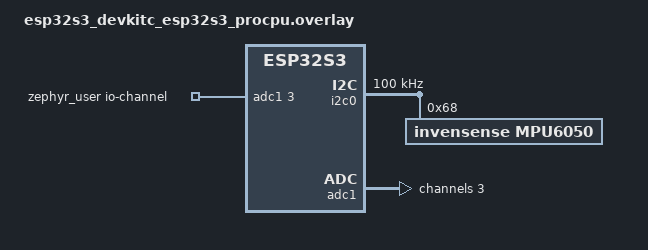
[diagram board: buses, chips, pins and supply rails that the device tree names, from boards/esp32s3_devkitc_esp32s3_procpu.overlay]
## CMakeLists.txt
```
cmake_minimum_required(VERSION 3.20.0)

find_package(Zephyr REQUIRED HINTS $ENV{ZEPHYR_BASE})
project(secure_sensor_node C)

target_include_directories(app PRIVATE
    ${CMAKE_CURRENT_SOURCE_DIR}/include
)

# Application sources
target_sources(app PRIVATE
    src/main.c
    src/sensor_manager.c
    src/ble_service.c
    src/mqtt_client.c
    src/power_manager.c

    subsys/sensors/mpu6050_sensor.c
    subsys/sensors/adc_battery.c

    subsys/encoding/json_encoder.c
)
```

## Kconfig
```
# Kconfig racine de l'application
source "$ZEPHYR_BASE/Kconfig.zephyr"
```

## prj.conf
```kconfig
# Serial & Console
CONFIG_SERIAL=y
CONFIG_CONSOLE=y
CONFIG_UART_CONSOLE=y
CONFIG_PRINTK=y

# Logging
CONFIG_LOG=y
CONFIG_LOG_DEFAULT_LEVEL=3
CONFIG_LOG_MODE_IMMEDIATE=y

# Support des floats
CONFIG_CBPRINTF_FP_SUPPORT=y
CONFIG_CBPRINTF_LIBC_SUBSTS=y

# Memory
CONFIG_HEAP_MEM_POOL_SIZE=32768
CONFIG_MAIN_STACK_SIZE=8192
CONFIG_SYSTEM_WORKQUEUE_STACK_SIZE=4096

# Threading
CONFIG_THREAD_NAME=y

# Power Management
#CONFIG_PM=y
#CONFIG_PM_DEVICE=y

# Watchdog 
CONFIG_WATCHDOG=y

# Random number generator (nécessaire pour sys_rand_get)
CONFIG_ENTROPY_GENERATOR=y
CONFIG_TEST_RANDOM_GENERATOR=y

# I2C
CONFIG_I2C=y

# SPI
CONFIG_SPI=y

# BLUETOOTH
CONFIG_BT=y
CONFIG_BT_PERIPHERAL=y
CONFIG_BT_DEVICE_NAME="SecureSensorNode"
CONFIG_BT_DEVICE_NAME_DYNAMIC=n
CONFIG_BT_PRIVACY=n
CONFIG_BT_SETTINGS=n
CONFIG_BT_GATT_DYNAMIC_DB=y
CONFIG_BT_ATT_PREPARE_COUNT=2
CONFIG_BT_L2CAP_TX_BUF_COUNT=8
CONFIG_BT_L2CAP_TX_MTU=247
CONFIG_BT_BUF_ACL_TX_SIZE=251
CONFIG_BT_BUF_ACL_RX_SIZE=251

CONFIG_BT_GATT_CLIENT=y

# JSON (nécessaire pour ble_service)
CONFIG_JSON_LIBRARY=y




# ===== NETWORKING (WiFi + MQTT) =====
CONFIG_NETWORKING=y
CONFIG_NET_IPV4=y
CONFIG_NET_IPV6=n
CONFIG_NET_TCP=y
CONFIG_NET_SOCKETS=y
CONFIG_NET_IF_UNICAST_IPV4_ADDR_COUNT=1
CONFIG_NET_IF_MCAST_IPV4_ADDR_COUNT=1
CONFIG_NET_MAX_CONTEXTS=10
CONFIG_NET_LOG=y

# DNS Resolver
CONFIG_DNS_RESOLVER=y
CONFIG_DNS_RESOLVER_ADDITIONAL_BUF_CTR=5
CONFIG_DNS_RESOLVER_ADDITIONAL_QUERIES=2


# Network buffers
CONFIG_NET_BUF_RX_COUNT=32
CONFIG_NET_BUF_TX_COUNT=32
CONFIG_NET_PKT_RX_COUNT=32
CONFIG_NET_PKT_TX_COUNT=32
CONFIG_NET_BUF_DATA_SIZE=256

# Network management
CONFIG_NET_MGMT=y
CONFIG_NET_MGMT_EVENT=y
CONFIG_NET_MGMT_EVENT_INFO=y
CONFIG_NET_MGMT_EVENT_STACK_SIZE=4096 

# ===== WiFi =====
CONFIG_WIFI=y
CONFIG_NET_L2_ETHERNET=y
CONFIG_NET_DHCPV4=y
CONFIG_WIFI_STA_AUTO_DHCPV4=y

# WiFi ESP32
CONFIG_WIFI_ESP32=y

# ===== MQTT =====
CONFIG_MQTT_LIB=y
CONFIG_MQTT_LIB_TLS=n

# MQTT buffers
CONFIG_MQTT_KEEPALIVE=60

# Sensor subsystem
CONFIG_SENSOR=y

# MPU-6050 over I2C and using Polling mode (no interrupts)
CONFIG_MPU6050=y
CONFIG_MPU6050_TRIGGER_NONE=y

# debugging
CONFIG_SHELL=y
CONFIG_I2C_SHELL=y
CONFIG_SHELL_BACKEND_SERIAL=y
```

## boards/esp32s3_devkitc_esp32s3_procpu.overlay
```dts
#include <zephyr/dt-bindings/pinctrl/esp32s3-pinctrl.h>

/ {
    aliases {
        batt-sense = &zephyr_user;
    };

    zephyr_user: zephyr_user {
        compatible = "zephyr,user";
        io-channels = <&adc1 3>;
    };
};

&pinctrl {
    i2c0_mpu6050: i2c0_mpu6050 {
        group1 {
            pinmux = <I2C0_SDA_GPIO8>,
                     <I2C0_SCL_GPIO7>;

            bias-pull-up;
            drive-open-drain;
            output-high;
        };
    };
};

&i2c0 {
    status = "okay";
    clock-frequency = <I2C_BITRATE_STANDARD>;

    pinctrl-0 = <&i2c0_mpu6050>;
    pinctrl-names = "default";

    mpu6050: mpu6050@68 {
        compatible = "invensense,mpu6050";
        reg = <0x68>;
        status = "okay";

        accel-fs = <2>; 
        gyro-fs = <250>;
    };
};

&adc1 {
    status = "okay";
    #address-cells = <1>;
    #size-cells = <0>;

    channel@3 {
        reg = <3>;
        zephyr,gain = "ADC_GAIN_1";
        zephyr,reference = "ADC_REF_INTERNAL";
        zephyr,acquisition-time = <ADC_ACQ_TIME_DEFAULT>;
        zephyr,resolution = <12>;
    };
};
```

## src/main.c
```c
#include <zephyr/kernel.h>
#include <zephyr/sys/printk.h>
#include <zephyr/logging/log.h>
#include "app_config.h"
#include "sensor_manager.h"
#include "power_manager.h"
#include "ble_service.h"
#include "mqtt_client.h"

LOG_MODULE_REGISTER(main, LOG_LEVEL_INF);

/*    INITIALIZATION FUNCTIONS        */

static int init_power_manager(void)
{
    int ret = power_manager_init();
    if (ret != 0) {
        LOG_ERR("Power manager init failed: %d", ret);
    }
    return ret;
}

static int init_mqtt_client(void)
{
    int ret = app_mqtt_client_init();
    if (ret != 0) {
        LOG_ERR("MQTT init failed: %d", ret);
        return ret;
    }
    
    LOG_INF("MQTT initialized - connecting...");
    
    ret = mqtt_client_connect();
    if (ret != 0) {
        LOG_ERR("MQTT connection failed: %d", ret);
        return ret;
    }
    
    LOG_INF(" MQTT connected to broker!");
    return 0;
}

static int init_ble_service(void)
{
    int ret = ble_service_init();
    if (ret != 0) {
        LOG_ERR("BLE service init failed: %d", ret);
        return ret;
    }
    LOG_INF("BLE service initialized!");
    
    ret = ble_service_start_advertising();
    if (ret != 0) {
        LOG_ERR("BLE advertising failed: %d", ret);
        return ret;
    }
    LOG_INF("BLE advertising started - device visible!");
    
    return 0;
}

static int init_sensor_manager(void)
{
    int ret = sensor_manager_init();
    if (ret != 0) {
        LOG_ERR("Sensor manager init failed: %d", ret);
        return ret;
    }
    
    ret = sensor_manager_start();
    if (ret != 0) {
        LOG_ERR("Sensor manager start failed: %d", ret);
        return ret;
    }
    
    return 0;
}

/*      DATA DISPLAY FUNCTIONS           */

static void display_sensor_data(const sensor_data_t *data, int counter)
{
    printk("\n=== Sensor Data [%d] ===\n", counter);
    printk(" Temperature: %.1f °C\n", (double)data->temperature_c);
    printk(" Accelerometer:\n");
    printk("    X: %+6.2f m/s²\n", (double)data->accel_x);
    printk("    Y: %+6.2f m/s²\n", (double)data->accel_y);
    printk("    Z: %+6.2f m/s²\n", (double)data->accel_z);
    printk(" Gyroscope:\n");
    printk("    X: %+6.2f rad/s\n", (double)data->gyro_x);
    printk("    Y: %+6.2f rad/s\n", (double)data->gyro_y);
    printk("    Z: %+6.2f rad/s\n", (double)data->gyro_z);
    printk(" Acceleration norm: %.3f m/s² (%s)\n",
           (double)data->accel_magnitude,
           data->motion_detected ? "MOTION" : "STILL");
    printk(" Norm stats: mean=%.3f std=%.3f min=%.3f max=%.3f\n",
           (double)data->accel_mean, (double)data->accel_stddev,
           (double)data->accel_min, (double)data->accel_max);
    printk(" Orientation (+X up): Y=%+.2f° Z=%+.2f°\n",
           (double)data->tilt_y_deg, (double)data->tilt_z_deg);
    printk(" Battery: %.2f V\n", (double)data->battery_voltage);
}

/*     BLE NOTIFICATION HANDLER           */

static void handle_ble_notification(const sensor_data_t *data, int counter)
{
    if (!ble_service_is_connected()) {
        printk(" BLE: Not connected\n");
        return;
    }
    
    if (counter == 0) {
        printk(" BLE: Waiting for MTU negotiation...\n");
        return;
    }
    
    int ret = ble_service_notify(data);
    if (ret == 0) {
        printk("✓ BLE notification sent!\n");
    } else if (ret == -EAGAIN) {
        printk(" BLE: MTU not ready yet\n");
    } else {
        printk(" BLE notification failed: %d\n", ret);
    }
}

/*   MQTT PUBLICATION HANDLER   */

static void handle_mqtt_publication(const sensor_data_t *data)
{
    if (!mqtt_client_is_connected()) {
        printk(" MQTT: Not connected\n");
        return;
    }
    
    int ret = mqtt_client_publish_sensor_data(data);
    if (ret == 0) {
        printk(" MQTT data published!\n");
    } else {
        printk(" MQTT publish failed: %d\n", ret);
    }
}

/*   MAIN LOOP FUNCTIONS       */

static void process_sensor_data(int counter)
{
    sensor_data_t data;
    int ret = sensor_manager_get_data(&data);
    
    if (ret != 0 || !data.valid) {
        printk(" No valid sensor data (ret=%d)\n", ret);
        return;
    }
    
    // Display sensor data
    display_sensor_data(&data, counter);
    
    // Send via BLE
    handle_ble_notification(&data, counter);
    
    // Publish via MQTT
    handle_mqtt_publication(&data);
    
    printk("\n");
}

static void process_maintenance_tasks(int counter)
{
    // Process MQTT events
    if (mqtt_client_is_connected()) {
        mqtt_client_process();
    }
    
    // Feed watchdog
    power_manager_feed_watchdog();
    
}

static void sleep_cycle(void)
{
    int ret = power_manager_enter_low_power(POWER_STATE_IDLE, 5000);
    if (ret != 0) {
        k_msleep(5000);
    }
}


int main(void)
{
    int ret;
    
    printk("\n\n=== SECURE SENSOR NODE - FULL VERSION ===\n");
    LOG_INF("Starting with BLE + MQTT...");
    
    // Initialize all subsystems
    init_power_manager();
    
    ret = init_mqtt_client();
    if (ret != 0) {
        LOG_WRN("Continuing without MQTT...");
    }
    
    ret = init_ble_service();
    if (ret != 0) {
        return ret;
    }
    
    ret = init_sensor_manager();
    if (ret != 0) {
        return ret;
    }
    
    // Main loop
    int counter = 0;
    
    while (1) {
        process_sensor_data(counter);
        process_maintenance_tasks(counter);
        counter++;
        sleep_cycle();
    }
    
    return 0;
}
```

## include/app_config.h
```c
/**
 * @file app_config.h
 * @brief Application-wide configuration constants
 */

#ifndef APP_CONFIG_H
#define APP_CONFIG_H

#include <zephyr/kernel.h>

/* Application version */
#define APP_VERSION_MAJOR 1
#define APP_VERSION_MINOR 0
#define APP_VERSION_PATCH 0

/* Sensor sampling configuration */
#define SENSOR_SAMPLE_INTERVAL_MS    20      /* 50 Hz acquisition */
#define SENSOR_QUEUE_SIZE            10

/* MPU-6050 processing */
#define SENSOR_FILTER_ALPHA          0.20f
#define SENSOR_FUSION_ALPHA          0.98f
#define SENSOR_MOTION_THRESHOLD_MS2  0.35f
#define SENSOR_STATS_WINDOW_SAMPLES  50      /* One second at 50 Hz */

/* BLE configuration */
#define BLE_DEVICE_NAME              "SecureSensorNode"
#define BLE_NOTIFY_INTERVAL_MS       10000   /* 10 seconds */

/* MQTT configuration */
#define MQTT_BROKER_ADDR             "192.168.1.114"
#define MQTT_BROKER_PORT             1883    /* TLS port */
#define MQTT_CLIENT_ID               "esp32s3_sensor_node"
#define MQTT_PUB_TOPIC               "sensors/data"
#define MQTT_PUB_INTERVAL_MS         15000   /* 15 seconds */
#define MQTT_KEEPALIVE_SEC           60
#define MQTT_QOS                     1

/* WiFi configuration */
#define WIFI_SSID                    "Fibre_MarocTelecom_2.4G"
#define WIFI_PSK                     "CYSFZR2K"

/* Power management */
#define ENABLE_LOW_POWER_MODE        1
#define SLEEP_DURATION_MS            30000   /* 30 seconds between cycles */

/* Watchdog configuration */
#define WATCHDOG_TIMEOUT_MS          10000   /* 10 seconds */

/* Buffer sizes */
#define JSON_BUFFER_SIZE             512
#define CBOR_BUFFER_SIZE             256

/* Stack sizes */
#define SENSOR_THREAD_STACK_SIZE     2048
#define BLE_THREAD_STACK_SIZE        2048
#define MQTT_THREAD_STACK_SIZE       4096

/* Thread priorities */
#define SENSOR_THREAD_PRIORITY       5
#define BLE_THREAD_PRIORITY          6
#define MQTT_THREAD_PRIORITY         6

#endif /* APP_CONFIG_H */
/* BLE Service UUIDs */
#define BLE_UUID_SENSOR_SERVICE \
    BT_UUID_DECLARE_128(BT_UUID_128_ENCODE(0xF0DEBC9A, 0x7856, 0x3412, 0x7856, 0x341234125678))

#define BLE_UUID_SENSOR_DATA_CHAR \
    BT_UUID_DECLARE_128(BT_UUID_128_ENCODE(0xF0DEBC9B, 0x7856, 0x3412, 0x7856, 0x341234125678))
```

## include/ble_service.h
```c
#ifndef BLE_SERVICE_H
#define BLE_SERVICE_H

#include <stdbool.h>
#include "sensor_manager.h"

int ble_service_init(void);
int ble_service_start_advertising(void);
int ble_service_stop_advertising(void);
int ble_service_notify(const sensor_data_t *data);
bool ble_service_is_connected(void);

#endif
```

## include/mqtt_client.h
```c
#ifndef MQTT_CLIENT_H
#define MQTT_CLIENT_H

#include "sensor_manager.h"

int app_mqtt_client_init(void);
int mqtt_client_connect(void);
void app_mqtt_disconnect(void);
int mqtt_client_publish_sensor_data(const sensor_data_t *data);
bool mqtt_client_is_connected(void);
void mqtt_client_process(void);

#endif
```

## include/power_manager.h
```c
/**
 * @file power_manager.h
 * @brief Power management for low-power operation
 */

#ifndef POWER_MANAGER_H
#define POWER_MANAGER_H

#include <zephyr/kernel.h>

/* Power states */
typedef enum {
    POWER_STATE_ACTIVE,
    POWER_STATE_IDLE,
    POWER_STATE_SLEEP,
    POWER_STATE_DEEP_SLEEP
} power_state_t;

/**
 * @brief Initialize power management subsystem
 * @return 0 on success, negative errno on failure
 */
int power_manager_init(void);

/**
 * @brief Enter low-power mode
 * @param state Desired power state
 * @param duration_ms Duration to stay in low-power mode (0 for indefinite)
 * @return 0 on success, negative errno on failure
 */
int power_manager_enter_low_power(power_state_t state, uint32_t duration_ms);

/**
 * @brief Exit low-power mode and return to active state
 */
void power_manager_exit_low_power(void);

/**
 * @brief Get current power state
 * @return Current power state
 */
power_state_t power_manager_get_state(void);

/**
 * @brief Setup watchdog timer
 * @param timeout_ms Watchdog timeout in milliseconds
 * @return 0 on success, negative errno on failure
 */
int power_manager_setup_watchdog(uint32_t timeout_ms);

/**
 * @brief Feed the watchdog timer
 */
void power_manager_feed_watchdog(void);

#endif /* POWER_MANAGER_H */
```

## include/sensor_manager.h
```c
/**
 * @file sensor_manager.h
 * @brief Sensor data collection and management
 */

#ifndef SENSOR_MANAGER_H
#define SENSOR_MANAGER_H

#include <zephyr/kernel.h>
#include <stdint.h>

/* Sensor data structure */
typedef struct {
    float temperature_c;      /* MPU-6050 internal die temperature (Celsius) */
    float accel_x;            /* Accelerometer X-axis (m/s²) */
    float accel_y;            /* Accelerometer Y-axis (m/s²) */
    float accel_z;            /* Accelerometer Z-axis (m/s²) */
    float gyro_x;             /* Gyroscope X-axis (rad/s) */
    float gyro_y;             /* Gyroscope Y-axis (rad/s) */
    float gyro_z;             /* Gyroscope Z-axis (rad/s) */
    float accel_magnitude;    /* Acceleration norm (m/s²) */
    float accel_mean;         /* Mean norm over the statistics window */
    float accel_stddev;       /* Norm standard deviation */
    float accel_min;          /* Minimum norm */
    float accel_max;          /* Maximum norm */
    float tilt_y_deg;         /* Fused tilt around Y, +X-up reference */
    float tilt_z_deg;         /* Fused tilt around Z, +X-up reference */
    bool motion_detected;     /* Acceleration differs significantly from 1 g */
    float battery_voltage;    /* Battery voltage (V) */
    uint32_t timestamp_ms;    /* Timestamp in milliseconds */
    bool valid;               /* Data validity flag */
} sensor_data_t;

/**
 * @brief Initialize sensor manager and all sensors
 * @return 0 on success, negative errno on failure
 */
int sensor_manager_init(void);

/**
 * @brief Start sensor sampling thread
 * @return 0 on success, negative errno on failure
 */
int sensor_manager_start(void);

/**
 * @brief Stop sensor sampling thread
 */
void sensor_manager_stop(void);

/**
 * @brief Get latest sensor readings
 * @param data Pointer to sensor_data_t structure to fill
 * @return 0 on success, negative errno on failure
 */
int sensor_manager_get_data(sensor_data_t *data);

/**
 * @brief Register callback for new sensor data
 * @param callback Function to call when new data is available
 */
typedef void (*sensor_data_callback_t)(const sensor_data_t *data);
void sensor_manager_register_callback(sensor_data_callback_t callback);

#endif /* SENSOR_MANAGER_H */
```

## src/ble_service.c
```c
/**
 * @file ble_service.c
 * @brief BLE GATT service for sensor data notifications
 */

#include <zephyr/kernel.h>
#include <zephyr/bluetooth/bluetooth.h>
#include <zephyr/bluetooth/gap.h>
#include <zephyr/bluetooth/gatt.h>
#include <zephyr/bluetooth/uuid.h>
#include <zephyr/logging/log.h>
#include "ble_service.h"
#include "sensor_manager.h"

LOG_MODULE_REGISTER(ble_svc, LOG_LEVEL_INF);

/* Connexion et état */
static struct bt_conn *current_conn = NULL;
static bool notify_enabled = false;

/* Buffer pour les données JSON */
#define JSON_BUFFER_SIZE 256
static char json_buffer[JSON_BUFFER_SIZE];

/* UUID Service : 12345678-1234-5678-1234-56789abcdef0 */
#define BT_UUID_SENSOR_SERVICE \
    BT_UUID_DECLARE_128(BT_UUID_128_ENCODE(0x12345678, 0x1234, 0x5678, 0x1234, 0x56789abcdef0))

/* UUID Characteristic : 12345678-1234-5678-1234-56789abcdef1 */
#define BT_UUID_SENSOR_DATA_CHAR \
    BT_UUID_DECLARE_128(BT_UUID_128_ENCODE(0x12345678, 0x1234, 0x5678, 0x1234, 0x56789abcdef1))

static int encode_sensor_data(const sensor_data_t *data)
{
    int len = snprintf(json_buffer, sizeof(json_buffer),
        "{\"t\":%.1f,\"x\":%.2f,\"y\":%.2f,\"z\":%.2f,"
        "\"gx\":%.2f,\"gy\":%.2f,\"gz\":%.2f,\"ay\":%.1f,"
        "\"az\":%.1f,\"m\":%d,\"b\":%.2f}",
        (double)data->temperature_c,
        (double)data->accel_x,
        (double)data->accel_y,
        (double)data->accel_z,
        (double)data->gyro_x,
        (double)data->gyro_y,
        (double)data->gyro_z,
        (double)data->tilt_y_deg,
        (double)data->tilt_z_deg,
        data->motion_detected ? 1 : 0,
        (double)data->battery_voltage);

    if (len < 0 || len >= sizeof(json_buffer)) {
        LOG_ERR("BLE JSON encode failed");
        return -ENOMEM;
    }

    return len;
}

static ssize_t read_sensor_data(struct bt_conn *conn,
                                const struct bt_gatt_attr *attr,
                                void *buf, uint16_t len, uint16_t offset)
{
    sensor_data_t data;
    int ret = sensor_manager_get_data(&data);

    if (ret != 0) {
        return BT_GATT_ERR(BT_ATT_ERR_UNLIKELY);
    }

    ret = encode_sensor_data(&data);
    if (ret < 0) {
        return BT_GATT_ERR(BT_ATT_ERR_UNLIKELY);
    }

    return bt_gatt_attr_read(conn, attr, buf, len, offset,
                             json_buffer, ret);
}

/**
 * @brief CCC change handler
 */
static void sensor_data_ccc_changed(const struct bt_gatt_attr *attr, uint16_t value)
{
    notify_enabled = (value == BT_GATT_CCC_NOTIFY);
    LOG_INF("Notifications %s", notify_enabled ? "enabled" : "disabled");
}

/**
 * @brief GATT service
 */
BT_GATT_SERVICE_DEFINE(sensor_service,
    BT_GATT_PRIMARY_SERVICE(BT_UUID_SENSOR_SERVICE),
    BT_GATT_CHARACTERISTIC(BT_UUID_SENSOR_DATA_CHAR,
                          BT_GATT_CHRC_READ | BT_GATT_CHRC_NOTIFY,
                          BT_GATT_PERM_READ,
                          read_sensor_data, NULL, json_buffer),
    BT_GATT_CCC(sensor_data_ccc_changed, BT_GATT_PERM_READ | BT_GATT_PERM_WRITE),
);

/**
 * @brief Advertising data
 */
static const struct bt_data ad[] = {
    BT_DATA_BYTES(BT_DATA_FLAGS, (BT_LE_AD_GENERAL | BT_LE_AD_NO_BREDR)),
    BT_DATA_BYTES(BT_DATA_NAME_COMPLETE,
        'S', 'e', 'n', 's', 'o', 'r', 'N', 'o', 'd', 'e'),
};

/**
 * @brief Connection callback
 */
static void connected(struct bt_conn *conn, uint8_t err)
{
    char addr[BT_ADDR_LE_STR_LEN];
    bt_addr_le_to_str(bt_conn_get_dst(conn), addr, sizeof(addr));

    if (err) {
        LOG_ERR("Connection failed: %u", err);
        return;
    }

    LOG_INF("✓ Connected: %s", addr);
    current_conn = bt_conn_ref(conn);
}

/**
 * @brief Disconnect callback
 */
static void disconnected(struct bt_conn *conn, uint8_t reason)
{
    char addr[BT_ADDR_LE_STR_LEN];
    bt_addr_le_to_str(bt_conn_get_dst(conn), addr, sizeof(addr));

    LOG_INF("✗ Disconnected: %s (reason %u)", addr, reason);

    if (current_conn) {
        bt_conn_unref(current_conn);
        current_conn = NULL;
    }

    notify_enabled = false;
    
    /* Redémarrer advertising après déconnexion */
    LOG_INF("Restarting advertising...");
    ble_service_start_advertising();
}

BT_CONN_CB_DEFINE(conn_callbacks) = {
    .connected = connected,
    .disconnected = disconnected,
};

int ble_service_init(void)
{
    int err = bt_enable(NULL);
    if (err) {
        LOG_ERR("Bluetooth init failed (err %d)", err);
        return err;
    }

    /* Afficher l'adresse MAC */
    bt_addr_le_t addr;
    size_t count = 1;
    bt_id_get(&addr, &count);
    
    char addr_str[BT_ADDR_LE_STR_LEN];
    bt_addr_le_to_str(&addr, addr_str, sizeof(addr_str));
    
    LOG_INF("===========================================");
    LOG_INF("*** MAC Address: %s ***", addr_str);
    LOG_INF("===========================================");
    LOG_INF("Bluetooth initialized");
    
    return 0;
}

int ble_service_start_advertising(void)
{
    struct bt_le_adv_param adv_param = {
        .id = BT_ID_DEFAULT,
        .options = BT_LE_ADV_OPT_CONN,  // Utiliser BT_LE_ADV_OPT_CONN au lieu de CONNECTABLE
        .interval_min = BT_GAP_ADV_FAST_INT_MIN_2,
        .interval_max = BT_GAP_ADV_FAST_INT_MAX_2,
        .peer = NULL,
    };

    int err = bt_le_adv_start(&adv_param, ad, ARRAY_SIZE(ad), NULL, 0);
    if (err) {
        LOG_ERR("Failed to start advertising (err %d)", err);
        return err;
    }

    LOG_INF("✓ Advertising started - Name: SensorNode");
    return 0;
}

int ble_service_stop_advertising(void)
{
    int err = bt_le_adv_stop();
    if (err) {
        LOG_ERR("Failed to stop advertising (err %d)", err);
        return err;
    }

    LOG_INF("Advertising stopped");
    return 0;
}

int ble_service_notify(const sensor_data_t *data)
{
    if (!current_conn || !notify_enabled) {
        return -ENOTCONN;
    }

    int len = encode_sensor_data(data);
    if (len < 0) {
        return len;
    }
    
    LOG_DBG("Sending: %d bytes", len);
    
    /* attrs[2] is the characteristic value; attrs[1] is its declaration. */
    return bt_gatt_notify(current_conn, &sensor_service.attrs[2],
                         json_buffer, len);
}

bool ble_service_is_connected(void)
{
    return (current_conn != NULL && notify_enabled);
}
```

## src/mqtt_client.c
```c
/**
 * @file mqtt_client.c - FINAL FIX
 * @brief MQTT client using NET_EVENT_IPV4_ADDR_ADD (like working test_wifi)
 */

#include <zephyr/kernel.h>
#include <zephyr/net/socket.h>
#include <zephyr/net/mqtt.h>
#include <zephyr/net/net_mgmt.h>
#include <zephyr/net/net_ip.h>
#include <zephyr/net/net_if.h>
#include <zephyr/net/wifi_mgmt.h>
#include <zephyr/logging/log.h>
#include <zephyr/random/random.h>

#include "mqtt_client.h"
#include "app_config.h"

LOG_MODULE_REGISTER(app_mqtt, LOG_LEVEL_INF);

/* JSON encoder */
extern int json_encode_sensor_data_with_metadata(const sensor_data_t *data,
                                                 char *buffer,
                                                 size_t buffer_size,
                                                 const char *device_id);

/* MQTT client context */
static struct mqtt_client client;
static uint8_t rx_buffer[256];
static uint8_t tx_buffer[512];

static struct mqtt_utf8 client_id_utf8;
static struct mqtt_utf8 pub_topic_utf8;

static struct sockaddr_storage broker;
static bool mqtt_connected = false;

/* WiFi - TWO SEPARATE CALLBACKS like working test_wifi */
static struct net_mgmt_event_callback wifi_cb;
static struct net_mgmt_event_callback ipv4_cb;  // SEPARATE callback for IPv4

static K_SEM_DEFINE(wifi_connected_sem, 0, 1);
static K_SEM_DEFINE(ipv4_assigned, 0, 1);

/* Forward declarations */
static int wifi_connect(void);

/**
 * @brief Handle IPv4 address assignment - COPIED FROM WORKING test_wifi
 */
static void handle_ipv4_result(struct net_if *iface)
{
    char ip_addr[NET_IPV4_ADDR_LEN];

    for (int i = 0; i < NET_IF_MAX_IPV4_ADDR; i++) {
        struct net_if_addr *if_addr = &iface->config.ip.ipv4->unicast[i].ipv4;

        if (if_addr->addr_type != NET_ADDR_DHCP || !if_addr->is_used) {
            continue;
        }
        
        if (net_addr_ntop(AF_INET, &if_addr->address.in_addr, ip_addr, sizeof(ip_addr))) {
            LOG_INF("========================================");
            LOG_INF("ESP32-S3 IP Address: %s", ip_addr);
            LOG_INF("========================================");
            k_sem_give(&ipv4_assigned);  // Signal IP is ready!
            return;
        }
    }
}

/**
 * @brief WiFi event handler
 */
static void wifi_mgmt_event_handler(struct net_mgmt_event_callback *cb,
                                   uint64_t mgmt_event,
                                   struct net_if *iface)
{
    switch (mgmt_event) {
    case NET_EVENT_WIFI_CONNECT_RESULT:
        {
            const struct wifi_status *status = (const struct wifi_status *)cb->info;
            if (status->status) {
                LOG_ERR("WiFi connection failed (status: %d)", status->status);
            } else {
                LOG_INF("WiFi connected successfully");
                k_sem_give(&wifi_connected_sem);
            }
        }
        break;

    case NET_EVENT_WIFI_DISCONNECT_RESULT:
        LOG_WRN("WiFi disconnected");
        mqtt_connected = false;
        k_sem_reset(&wifi_connected_sem);
        k_sem_reset(&ipv4_assigned);
        break;

    default:
        break;
    }
}

/**
 * @brief IPv4 event handler - SEPARATE CALLBACK like working test_wifi
 */
static void ipv4_mgmt_event_handler(struct net_mgmt_event_callback *cb,
                                   uint64_t mgmt_event,
                                   struct net_if *iface)
{
    if (mgmt_event == NET_EVENT_IPV4_ADDR_ADD) {  // This event WORKS!
        handle_ipv4_result(iface);
    }
}

/**
 * @brief Connect to WiFi
 */
static int wifi_connect(void)
{
    struct net_if *iface = net_if_get_default();
    struct wifi_connect_req_params params = {0};

    if (!iface) {
        LOG_ERR("No default network interface found");
        return -1;
    }

    params.ssid = WIFI_SSID;
    params.ssid_length = strlen(WIFI_SSID);
    params.psk = WIFI_PSK;
    params.psk_length = strlen(WIFI_PSK);
    params.channel = WIFI_CHANNEL_ANY;
    params.security = WIFI_SECURITY_TYPE_PSK;

    LOG_INF("Connecting to WiFi SSID: %s", WIFI_SSID);

    if (net_mgmt(NET_REQUEST_WIFI_CONNECT, iface, &params, sizeof(params))) {
        LOG_ERR("WiFi connection request failed");
        return -1;
    }

    // Wait for WiFi connection (optional, can skip to IP wait)
    // k_sem_take(&wifi_connected_sem, K_SECONDS(30));

    // Wait for IP address assignment
    LOG_INF("Waiting for IP address...");
    int ret = k_sem_take(&ipv4_assigned, K_SECONDS(30));
    if (ret != 0) {
        LOG_ERR("DHCP timeout - no IP address assigned");
        return -ETIMEDOUT;
    }

    LOG_INF("✓ WiFi connected with IP assigned!");
    return 0;
}

/* MQTT event handler */
static void mqtt_evt_handler(struct mqtt_client *mqtt,
                             const struct mqtt_evt *evt)
{
    switch (evt->type) {
    case MQTT_EVT_CONNACK:
        if (evt->result) {
            LOG_ERR("MQTT connect failed: %d", evt->result);
            mqtt_connected = false;
        } else {
            mqtt_connected = true;
            LOG_INF("✓ MQTT connected");
        }
        break;

    case MQTT_EVT_DISCONNECT:
        LOG_INF("MQTT disconnected");
        mqtt_connected = false;
        break;

    default:
        break;
    }
}

/* Resolve broker hostname */
static int broker_init(void)
{
    struct sockaddr_in *b = (struct sockaddr_in *)&broker;

    b->sin_family = AF_INET;
    b->sin_port = htons(MQTT_BROKER_PORT);

    struct zsock_addrinfo hints = {
        .ai_family = AF_INET,
        .ai_socktype = SOCK_STREAM,
    };
    struct zsock_addrinfo *result;

    int ret = zsock_getaddrinfo(MQTT_BROKER_ADDR, NULL, &hints, &result);
    if (ret != 0) {
        LOG_ERR("DNS lookup failed: %d", ret);
        return -EINVAL;
    }

    struct sockaddr_in *addr = (struct sockaddr_in *)result->ai_addr;
    b->sin_addr = addr->sin_addr;

    zsock_freeaddrinfo(result);
    return 0;
}

/* Reconnection thread */
static K_THREAD_STACK_DEFINE(reconnect_stack, 2048);
static struct k_thread reconnect_thread;

static void reconnect_thread_func(void *a, void *b, void *c)
{
    ARG_UNUSED(a);
    ARG_UNUSED(b);
    ARG_UNUSED(c);
    
    while (1) {
        k_sleep(K_SECONDS(30));
        
        if (!mqtt_connected) {
            LOG_WRN("MQTT disconnected, attempting reconnection...");
            
            int ret = wifi_connect();
            if (ret == 0) {
                ret = mqtt_client_connect();
                if (ret == 0) {
                    LOG_INF("✓ Reconnected to MQTT broker");
                }
            }
        }
    }
}

/**
 * @brief Initialize MQTT client
 */
int app_mqtt_client_init(void)
{
    LOG_INF("Initializing MQTT client...");

    /* Register WiFi events callback */
    net_mgmt_init_event_callback(&wifi_cb, wifi_mgmt_event_handler,
                                NET_EVENT_WIFI_CONNECT_RESULT |
                                NET_EVENT_WIFI_DISCONNECT_RESULT);
    
    /* Register IPv4 events callback - SEPARATE! */
    net_mgmt_init_event_callback(&ipv4_cb, ipv4_mgmt_event_handler,
                                NET_EVENT_IPV4_ADDR_ADD);  // ✅ This works!

    net_mgmt_add_event_callback(&wifi_cb);
    net_mgmt_add_event_callback(&ipv4_cb);

    /* Give system time to initialize */
    k_sleep(K_SECONDS(1));

    /* Connect to WiFi */
    int ret = wifi_connect();
    if (ret < 0) {
        return ret;
    }

    /* Setup broker address */
    ret = broker_init();
    if (ret < 0) return ret;

    /* Prepare client */
    mqtt_client_init(&client);

    client.broker = &broker;
    client.evt_cb = mqtt_evt_handler;
    client.protocol_version = MQTT_VERSION_3_1_1;

    client.tx_buf = tx_buffer;
    client.tx_buf_size = sizeof(tx_buffer);
    client.rx_buf = rx_buffer;
    client.rx_buf_size = sizeof(rx_buffer);

    /* Client ID */
    static char cid[32];
    snprintf(cid, sizeof(cid), "%s_%08x", MQTT_CLIENT_ID, sys_rand32_get());
    client_id_utf8.utf8 = (uint8_t *)cid;
    client_id_utf8.size = strlen(cid);
    client.client_id = client_id_utf8;

    /* Publish topic */
    pub_topic_utf8.utf8 = (uint8_t *)MQTT_PUB_TOPIC;
    pub_topic_utf8.size = strlen(MQTT_PUB_TOPIC);

    /* Start reconnection thread */
    k_thread_create(&reconnect_thread, reconnect_stack,
                    K_THREAD_STACK_SIZEOF(reconnect_stack),
                    reconnect_thread_func,
                    NULL, NULL, NULL,
                    7, 0, K_NO_WAIT);
    k_thread_name_set(&reconnect_thread, "mqtt_reconnect");

    return 0;
}

int mqtt_client_connect(void)
{
    int ret = mqtt_connect(&client);
    if (ret < 0) {
        LOG_ERR("mqtt_connect failed: %d", ret);
        return ret;
    }

    /* Wait for connection */
    for (int i = 0; i < 50 && !mqtt_connected; i++) {
        mqtt_input(&client);
        k_msleep(100);
    }

    if (!mqtt_connected) {
        LOG_ERR("MQTT connection timeout");
        return -ETIMEDOUT;
    }

    return 0;
}

void app_mqtt_disconnect(void)
{
    if (mqtt_connected) {
        mqtt_disconnect(&client, NULL);
        mqtt_connected = false;
        LOG_INF("MQTT disconnected");
    }
}

int mqtt_client_publish_sensor_data(const sensor_data_t *data)
{
    char payload[JSON_BUFFER_SIZE];
    int len = json_encode_sensor_data_with_metadata(data,
                                                    payload,
                                                    sizeof(payload),
                                                    MQTT_CLIENT_ID);
    if (len < 0) return len;

    struct mqtt_publish_param param = {
        .message.topic = pub_topic_utf8,
        .message.payload.data = payload,
        .message.payload.len = len,
        .message_id = sys_rand32_get() & 0xFFFF,
        .dup_flag = 0,
        .retain_flag = 0,
    };

    return mqtt_publish(&client, &param);
}

bool mqtt_client_is_connected(void)
{
    return mqtt_connected;
}

void mqtt_client_process(void)
{
    if (mqtt_connected) {
        mqtt_input(&client);
        mqtt_live(&client);
    }
}
```

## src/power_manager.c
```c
/**
 * @file power_manager.c
 * @brief Power management for low-power operation
 */

#include <zephyr/kernel.h>
#include <zephyr/pm/pm.h>
#include <zephyr/drivers/watchdog.h>
#include <zephyr/logging/log.h>
#include "power_manager.h"
#include "app_config.h"

LOG_MODULE_REGISTER(power_mgr, LOG_LEVEL_INF);

/* Watchdog device */
static const struct device *wdt_dev = DEVICE_DT_GET(DT_NODELABEL(wdt0));
static int wdt_channel_id = -1;

/* Power state */
static power_state_t current_state = POWER_STATE_ACTIVE;

int power_manager_init(void)
{
    LOG_INF("Initializing power manager...");
    
#ifdef CONFIG_PM
    /* Enable power management */
    LOG_INF("Power management enabled");
#else
    LOG_WRN("Power management not configured");
#endif
    
    LOG_INF("Power manager initialized");
    return 0;
}

int power_manager_enter_low_power(power_state_t state, uint32_t duration_ms)
{
    if (state == POWER_STATE_ACTIVE) {
        LOG_WRN("Cannot enter active state via low-power function");
        return -EINVAL;
    }
    
    LOG_INF("Entering low-power mode: %d for %u ms", state, duration_ms);
    
    current_state = state;
    
    switch (state) {
    case POWER_STATE_IDLE:
        /* CPU idle, peripherals active */
        if (duration_ms > 0) {
            k_msleep(duration_ms);
        } else {
            k_yield();
        }
        break;
        
    case POWER_STATE_SLEEP:
        /* Light sleep with quick wake-up */
#ifdef CONFIG_PM
        if (duration_ms > 0) {
            k_msleep(duration_ms);  /* PM subsystem handles state */
        }
#else
        k_msleep(duration_ms);
#endif
        break;
        
    case POWER_STATE_DEEP_SLEEP:
        /* Deep sleep, slow wake-up */
#ifdef CONFIG_PM
        LOG_INF("Entering deep sleep for %u ms", duration_ms);
        if (duration_ms > 0) {
            k_msleep(duration_ms);  /* PM subsystem handles deep sleep */
        }
#else
        LOG_WRN("Deep sleep not available without PM");
        k_msleep(duration_ms);
#endif
        break;
        
    default:
        LOG_ERR("Invalid power state: %d", state);
        return -EINVAL;
    }
    
    current_state = POWER_STATE_ACTIVE;
    LOG_DBG("Exited low-power mode");
    
    return 0;
}

void power_manager_exit_low_power(void)
{
    if (current_state != POWER_STATE_ACTIVE) {
        LOG_INF("Forcing exit from low-power mode");
        current_state = POWER_STATE_ACTIVE;
    }
}

power_state_t power_manager_get_state(void)
{
    return current_state;
}

int power_manager_setup_watchdog(uint32_t timeout_ms)
{
#ifdef CONFIG_WATCHDOG
    if (!device_is_ready(wdt_dev)) {
        LOG_ERR("Watchdog device not ready");
        return -ENODEV;
    }
    
    struct wdt_timeout_cfg wdt_config = {
        .flags = WDT_FLAG_RESET_SOC,
        .window.min = 0,
        .window.max = timeout_ms,
        .callback = NULL,
    };
    
    wdt_channel_id = wdt_install_timeout(wdt_dev, &wdt_config);
    if (wdt_channel_id < 0) {
        LOG_ERR("Failed to install watchdog timeout: %d", wdt_channel_id);
        return wdt_channel_id;
    }
    
    int ret = wdt_setup(wdt_dev, WDT_OPT_PAUSE_HALTED_BY_DBG);
    if (ret < 0) {
        LOG_ERR("Failed to setup watchdog: %d", ret);
        return ret;
    }
    
    LOG_INF("Watchdog configured with %u ms timeout", timeout_ms);
    return 0;
#else
    LOG_WRN("Watchdog not configured in build");
    return -ENOTSUP;
#endif
}

void power_manager_feed_watchdog(void)
{
#ifdef CONFIG_WATCHDOG
    if (wdt_channel_id >= 0) {
        wdt_feed(wdt_dev, wdt_channel_id);
        LOG_DBG("Watchdog fed");
    }
#endif
}
```

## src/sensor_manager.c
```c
/**
 * @file sensor_manager.c
 * @brief Sensor data collection and management coordinator
 */

#include <zephyr/kernel.h>
#include <zephyr/logging/log.h>
#include <math.h>
#include <float.h>
#include "sensor_manager.h"
#include "app_config.h"

LOG_MODULE_REGISTER(sensor_mgr, LOG_LEVEL_INF);

/* External sensor functions */
extern int mpu6050_sensor_init(void);
extern int mpu6050_sensor_calibrate(void);
extern int mpu6050_sensor_read(float *temperature,
                               float *accel_x, float *accel_y, float *accel_z,
                               float *gyro_x, float *gyro_y, float *gyro_z);
extern int adc_battery_init(void);
extern int adc_battery_read(float *voltage_v);

/* Internal state */
static sensor_data_t latest_data = {0};
static K_MUTEX_DEFINE(data_mutex);
static K_SEM_DEFINE(first_sample_sem, 0, 1);
static sensor_data_callback_t data_callback = NULL;

/* Thread control */
static struct k_thread sensor_thread_data;
static K_THREAD_STACK_DEFINE(sensor_thread_stack, SENSOR_THREAD_STACK_SIZE);
static k_tid_t sensor_thread_tid = NULL;
static bool thread_running = false;

#define STANDARD_GRAVITY_MS2 9.80665f
#define RAD_TO_DEG 57.2957795f

struct acceleration_stats {
    uint32_t count;
    float mean;
    float m2;
    float min;
    float max;
};

static struct acceleration_stats accel_stats;
static float last_stats_mean;
static float last_stats_stddev;
static float last_stats_min;
static float last_stats_max;
static bool orientation_initialized;
static float fused_tilt_y;
static float fused_tilt_z;
static int64_t previous_sample_time_ms;

static void update_acceleration_stats(float value, sensor_data_t *data)
{
    if (accel_stats.count == 0U) {
        accel_stats.min = value;
        accel_stats.max = value;
    } else {
        accel_stats.min = MIN(accel_stats.min, value);
        accel_stats.max = MAX(accel_stats.max, value);
    }

    accel_stats.count++;
    float delta = value - accel_stats.mean;
    accel_stats.mean += delta / accel_stats.count;
    float delta2 = value - accel_stats.mean;
    accel_stats.m2 += delta * delta2;

    if (accel_stats.count >= SENSOR_STATS_WINDOW_SAMPLES) {
        last_stats_mean = accel_stats.mean;
        last_stats_stddev = sqrtf(accel_stats.m2 / accel_stats.count);
        last_stats_min = accel_stats.min;
        last_stats_max = accel_stats.max;
        accel_stats = (struct acceleration_stats){0};
    }

    data->accel_mean = last_stats_mean;
    data->accel_stddev = last_stats_stddev;
    data->accel_min = last_stats_min;
    data->accel_max = last_stats_max;
}

static void update_orientation(sensor_data_t *data, int64_t sample_time_ms)
{
    float accel_tilt_y = atan2f(-data->accel_z, data->accel_x) * RAD_TO_DEG;
    float accel_tilt_z = atan2f(data->accel_y, data->accel_x) * RAD_TO_DEG;

    if (!orientation_initialized) {
        fused_tilt_y = accel_tilt_y;
        fused_tilt_z = accel_tilt_z;
        orientation_initialized = true;
    } else {
        float dt = (sample_time_ms - previous_sample_time_ms) / 1000.0f;
        float accel_weight = data->motion_detected ?
                             0.0f : (1.0f - SENSOR_FUSION_ALPHA);
        float gyro_weight = 1.0f - accel_weight;

        fused_tilt_y = gyro_weight *
                       (fused_tilt_y + data->gyro_y * dt * RAD_TO_DEG) +
                       accel_weight * accel_tilt_y;
        fused_tilt_z = gyro_weight *
                       (fused_tilt_z + data->gyro_z * dt * RAD_TO_DEG) +
                       accel_weight * accel_tilt_z;
    }

    previous_sample_time_ms = sample_time_ms;
    data->tilt_y_deg = fused_tilt_y;
    data->tilt_z_deg = fused_tilt_z;
}

/**
 * @brief Sensor sampling thread
 */
static void sensor_thread(void *arg1, void *arg2, void *arg3)
{
    ARG_UNUSED(arg1);
    ARG_UNUSED(arg2);
    ARG_UNUSED(arg3);
    
    LOG_INF("Sensor thread started");
    
    while (thread_running) {
        sensor_data_t data = {0};
        int64_t sample_time_ms = k_uptime_get();
        data.timestamp_ms = (uint32_t)sample_time_ms;
        
        /* Fetch temperature, acceleration, and angular velocity together. */
        int ret = mpu6050_sensor_read(&data.temperature_c,
                                      &data.accel_x, &data.accel_y, &data.accel_z,
                                      &data.gyro_x, &data.gyro_y, &data.gyro_z);
        if (ret != 0) {
            LOG_WRN("Failed to read MPU-6050: %d", ret);
            k_msleep(SENSOR_SAMPLE_INTERVAL_MS);
            continue;
        }

        data.accel_magnitude = sqrtf(data.accel_x * data.accel_x +
                                    data.accel_y * data.accel_y +
                                    data.accel_z * data.accel_z);
        data.motion_detected =
            fabsf(data.accel_magnitude - STANDARD_GRAVITY_MS2) >
            SENSOR_MOTION_THRESHOLD_MS2;
        update_acceleration_stats(data.accel_magnitude, &data);
        update_orientation(&data, sample_time_ms);
        
        /* Read battery voltage */
        ret = adc_battery_read(&data.battery_voltage);
        if (ret != 0) {
            LOG_WRN("Failed to read battery: %d", ret);
        }
        
        /* Mark data as valid */
        data.valid = true;
        
        /* Update latest data with mutex protection */
        k_mutex_lock(&data_mutex, K_FOREVER);
        memcpy(&latest_data, &data, sizeof(sensor_data_t));
        k_mutex_unlock(&data_mutex);
        k_sem_give(&first_sample_sem);
        
        /* Notify callback if registered */
        if (data_callback != NULL) {
            data_callback(&data);
        }
        
        /* Sleep until next sample */
        k_msleep(SENSOR_SAMPLE_INTERVAL_MS);
    }
    
    LOG_INF("Sensor thread stopped");
}

int sensor_manager_init(void)
{
    LOG_INF("Initializing sensor manager...");
    
    /* Initialize MPU-6050 sensor */
    int ret = mpu6050_sensor_init();
    if (ret != 0) {
        LOG_ERR("Failed to initialize MPU-6050 sensor: %d", ret);
        return ret;
    }

    /* Estimate constant offsets while the stationary sensor has +X up. */
    ret = mpu6050_sensor_calibrate();
    if (ret != 0) {
        LOG_ERR("Failed to calibrate MPU-6050 sensor: %d", ret);
        return ret;
    }
    
    /* Initialize ADC battery monitor */
    ret = adc_battery_init();
    if (ret != 0) {
        LOG_ERR("Failed to initialize ADC battery: %d", ret);
        /* Continue anyway for stub mode */
    }
    
    LOG_INF("Sensor manager initialized successfully");
    return 0;
}

int sensor_manager_start(void)
{
    if (thread_running) {
        LOG_WRN("Sensor thread already running");
        return -EALREADY;
    }
    
    thread_running = true;
    k_sem_reset(&first_sample_sem);
    
    sensor_thread_tid = k_thread_create(&sensor_thread_data, sensor_thread_stack,
                                       K_THREAD_STACK_SIZEOF(sensor_thread_stack),
                                       sensor_thread,
                                       NULL, NULL, NULL,
                                       SENSOR_THREAD_PRIORITY, 0, K_NO_WAIT);
    
    if (sensor_thread_tid == NULL) {
        LOG_ERR("Failed to create sensor thread");
        thread_running = false;
        return -ENOMEM;
    }
    
    k_thread_name_set(sensor_thread_tid, "sensor_mgr");

    int ret = k_sem_take(&first_sample_sem, K_SECONDS(1));
    if (ret != 0) {
        LOG_ERR("Timed out waiting for the first sensor sample");
        thread_running = false;
        k_thread_join(sensor_thread_tid, K_FOREVER);
        sensor_thread_tid = NULL;
        return ret;
    }

    LOG_INF("Sensor manager started");
    return 0;
}

void sensor_manager_stop(void)
{
    if (!thread_running) {
        return;
    }
    
    thread_running = false;
    
    if (sensor_thread_tid != NULL) {
        k_thread_join(sensor_thread_tid, K_FOREVER);
        sensor_thread_tid = NULL;
    }
    
    LOG_INF("Sensor manager stopped");
}

int sensor_manager_get_data(sensor_data_t *data)
{
    if (data == NULL) {
        return -EINVAL;
    }
    
    k_mutex_lock(&data_mutex, K_FOREVER);
    memcpy(data, &latest_data, sizeof(sensor_data_t));
    k_mutex_unlock(&data_mutex);
    
    return latest_data.valid ? 0 : -ENODATA;
}

void sensor_manager_register_callback(sensor_data_callback_t callback)
{
    data_callback = callback;
    LOG_INF("Sensor data callback registered");
}
```
